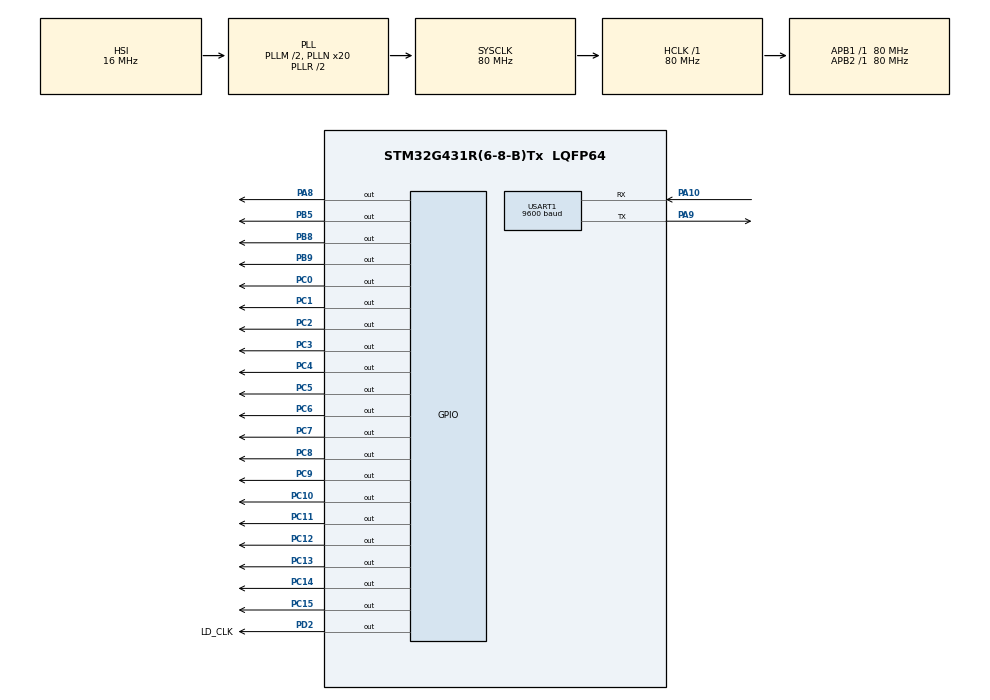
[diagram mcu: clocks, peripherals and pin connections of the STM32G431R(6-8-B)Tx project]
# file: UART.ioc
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Dma.Request0=USART1_RX
Dma.Request1=USART1_TX
Dma.USART1_RX.0.Direction=DMA_PERIPH_TO_MEMORY
Dma.USART1_RX.0.EventEnable=DISABLE
Dma.USART1_RX.0.Instance=DMA1_Channel1
Dma.USART1_RX.0.MemDataAlignment=DMA_MDATAALIGN_BYTE
Dma.USART1_RX.0.MemInc=DMA_MINC_ENABLE
Dma.USART1_RX.0.Mode=DMA_NORMAL
Dma.USART1_RX.0.PeriphDataAlignment=DMA_PDATAALIGN_BYTE
Dma.USART1_RX.0.PeriphInc=DMA_PINC_DISABLE
Dma.USART1_RX.0.Polarity=HAL_DMAMUX_REQ_GEN_RISING
Dma.USART1_RX.0.Priority=DMA_PRIORITY_LOW
Dma.USART1_RX.0.RequestNumber=1
Dma.USART1_RX.0.SignalID=NONE
Dma.USART1_RX.0.SyncEnable=DISABLE
Dma.USART1_RX.0.SyncPolarity=HAL_DMAMUX_SYNC_NO_EVENT
Dma.USART1_RX.0.SyncRequestNumber=1
Dma.USART1_RX.0.SyncSignalID=NONE
Dma.USART1_TX.1.Direction=DMA_MEMORY_TO_PERIPH
Dma.USART1_TX.1.EventEnable=DISABLE
Dma.USART1_TX.1.Instance=DMA1_Channel2
Dma.USART1_TX.1.MemDataAlignment=DMA_MDATAALIGN_BYTE
Dma.USART1_TX.1.MemInc=DMA_MINC_ENABLE
Dma.USART1_TX.1.Mode=DMA_NORMAL
Dma.USART1_TX.1.PeriphDataAlignment=DMA_PDATAALIGN_BYTE
Dma.USART1_TX.1.PeriphInc=DMA_PINC_DISABLE
Dma.USART1_TX.1.Polarity=HAL_DMAMUX_REQ_GEN_RISING
Dma.USART1_TX.1.Priority=DMA_PRIORITY_LOW
Dma.USART1_TX.1.RequestNumber=1
Dma.USART1_TX.1.SignalID=NONE
Dma.USART1_TX.1.SyncEnable=DISABLE
Dma.USART1_TX.1.SyncPolarity=HAL_DMAMUX_SYNC_NO_EVENT
Dma.USART1_TX.1.SyncRequestNumber=1
Dma.USART1_TX.1.SyncSignalID=NONE
Mcu.Family=STM32G4
Mcu.Name=STM32G431R(6-8-B)Tx
Mcu.Package=LQFP64
NVIC.DMA1_Channel1_IRQn=true\:0\:0\:false\:false\:true\:false\:true
NVIC.DMA1_Channel2_IRQn=true\:0\:0\:false\:false\:true\:false\:true
NVIC.PriorityGroup=NVIC_PRIORITYGROUP_4
NVIC.USART1_IRQn=true\:0\:0\:false\:false\:true\:true\:true
PA10.Mode=Asynchronous
PA10.Signal=USART1_RX
PA8.Signal=GPIO_Output
PA9.Mode=Asynchronous
PA9.Signal=USART1_TX
PB5.Signal=GPIO_Output
PB8-BOOT0.Signal=GPIO_Output
PB9.Signal=GPIO_Output
PC0.Signal=GPIO_Output
PC1.Signal=GPIO_Output
PC10.Signal=GPIO_Output
PC11.Signal=GPIO_Output
PC12.Signal=GPIO_Output
PC13.Signal=GPIO_Output
PC14-OSC32_IN.Signal=GPIO_Output
PC15-OSC32_OUT.Signal=GPIO_Output
PC2.Signal=GPIO_Output
PC3.Signal=GPIO_Output
PC4.Signal=GPIO_Output
PC5.Signal=GPIO_Output
PC6.Signal=GPIO_Output
PC7.Signal=GPIO_Output
PC8.Signal=GPIO_Output
PC9.Signal=GPIO_Output
PD2.GPIO_Label=LD_CLK
PD2.Signal=GPIO_Output
PF0-OSC_IN.Mode=HSE-External-Oscillator
PF0-OSC_IN.Signal=RCC_OSC_IN
PF1-OSC_OUT.Mode=HSE-External-Oscillator
PF1-OSC_OUT.Signal=RCC_OSC_OUT
ProjectManager.HeapSize=0x200
ProjectManager.StackSize=0x400
ProjectManager.TargetToolchain=MDK-ARM V5.27
RCC.ADC12Freq_Value=80000000
RCC.AHBFreq_Value=80000000
RCC.APB1Freq_Value=80000000
RCC.APB1TimFreq_Value=80000000
RCC.APB2Freq_Value=80000000
RCC.APB2TimFreq_Value=80000000
RCC.CortexFreq_Value=80000000
RCC.EXTERNAL_CLOCK_VALUE=12288000
RCC.HCLKFreq_Value=80000000
RCC.HSE_VALUE=24000000
RCC.HSI48_VALUE=48000000
RCC.HSI_VALUE=16000000
RCC.LSE_VALUE=32768
RCC.PLLM=RCC_PLLM_DIV2
RCC.PLLN=20
RCC.SYSCLKFreq_VALUE=80000000
RCC.SYSCLKSource=RCC_SYSCLKSOURCE_PLLCLK
RCC.USBFreq_Value=80000000
RCC.VCOOutputFreq_Value=160000000
USART1.BaudRate=9600
USART1.FIFOMode=FIFOMODE_ENABLE
USART1.VirtualMode-Asynchronous=VM_ASYNC
VP_SYS_VS_DBSignals.Mode=DisableDeadBatterySignals
board=custom

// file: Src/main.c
/* USER CODE BEGIN Header */
/**
  ******************************************************************************
  * @file           : main.c
  * @brief          : Main program body
  ******************************************************************************
  * @attention
  *
  * <h2><center>&copy; Copyright (c) 2021 STMicroelectronics.
  * All rights reserved.</center></h2>
  *
  * This software component is licensed by ST under BSD 3-Clause license,
  * the "License"; You may not use this file except in compliance with the
  * License. You may obtain a copy of the License at:
  *                        opensource.org/licenses/BSD-3-Clause
  *
  ******************************************************************************
  */
/* USER CODE END Header */
#include "main.h"

/* USER CODE BEGIN Includes */
#include <string.h>
#include <stdio.h>
#include "lcd.h"
/* USER CODE END Includes */

/* USER CODE BEGIN PD */
#define BUFFER_SIZE 100
/* USER CODE END PD */

UART_HandleTypeDef huart1;
DMA_HandleTypeDef hdma_usart1_rx;
DMA_HandleTypeDef hdma_usart1_tx;

/* USER CODE BEGIN PV */

uint8_t rx_buffer[100] = {0};//串口接收缓冲区
uint8_t rx_flag = 0;
uint16_t rx_len = 0;
uint8_t rx_done;
char str[10]={0};
struct typdef{
	char *ch;
	char c1, c2, c3, c4;
	int x;
	char c5;
	int y;
}rx_data;
/* USER CODE END PV */

void SystemClock_Config(void);
static void MX_GPIO_Init(void);
static void MX_DMA_Init(void);
static void MX_USART1_UART_Init(void);

/* USER CODE BEGIN 0 */
int fputc(int ch, FILE *f)
{
	HAL_UART_Transmit(&huart1, (uint8_t *)&ch, 1, HAL_MAX_DELAY);
	return ch;
}
/* USER CODE END 0 */

int main(void)
{

  /* MCU Configuration--------------------------------------------------------*/

  /* Reset of all peripherals, Initializes the Flash interface and the Systick. */
  HAL_Init();

  /* Configure the system clock */
  SystemClock_Config();

  /* Initialize all configured peripherals */
  MX_GPIO_Init();
  MX_DMA_Init();
  MX_USART1_UART_Init();
  /* USER CODE BEGIN 2 */
	/*开启串口空闲中断*/
	__HAL_UART_ENABLE_IT(&huart1, UART_IT_IDLE);/*启动串口DMA接收*/
	HAL_UART_Receive_DMA(&huart1,rx_buffer,BUFFER_SIZE);

  /* USER CODE END 2 */

  /* Infinite loop */
  while (1)
  {

    /* USER CODE BEGIN 3 */

		sscanf("SET:1:2", "%[A-Z]", str);
	printf("%s\r\n", str);
		if(rx_flag ==1)
		{
//			char *ptr, c = '.';

//			ptr = strchr((char*)rx_buffer, c);
//			printf("%d", ptr-(char*)rx_buffer+1);
			if(rx_len > 0)
			{

//				if(rx_data.c1 == 'S')
//				{
//					rx_done = 1;
//				}
			}
//			printf("%c\r\n", rx_data.c1);
//			printf("%c\r\n", rx_data.c2);
//			printf("%c\r\n", rx_data.c3);
//			printf("%c\r\n", rx_data.c4);
//			printf("%d\r\n", rx_data.x);
//			printf("%c\r\n", rx_data.c5);
//			printf("%d\r\n", rx_data.y);
			//HAL_UART_Transmit_DMA(&huart1,rx_buffer,rx_len);
			rx_len=0;
			rx_flag=0;
			HAL_UART_Receive_DMA(&huart1,rx_buffer,BUFFER_SIZE);
		}
  }
  /* USER CODE END 3 */
}

void SystemClock_Config(void)
{
  RCC_OscInitTypeDef RCC_OscInitStruct = {0};
  RCC_ClkInitTypeDef RCC_ClkInitStruct = {0};
  RCC_PeriphCLKInitTypeDef PeriphClkInit = {0};

  /** Configure the main internal regulator output voltage
  */
  HAL_PWREx_ControlVoltageScaling(PWR_REGULATOR_VOLTAGE_SCALE1);
  /** Initializes the RCC Oscillators according to the specified parameters
  * in the RCC_OscInitTypeDef structure.
  */
  RCC_OscInitStruct.OscillatorType = RCC_OSCILLATORTYPE_HSI;
  RCC_OscInitStruct.HSIState = RCC_HSI_ON;
  RCC_OscInitStruct.HSICalibrationValue = RCC_HSICALIBRATION_DEFAULT;
  RCC_OscInitStruct.PLL.PLLState = RCC_PLL_ON;
  RCC_OscInitStruct.PLL.PLLSource = RCC_PLLSOURCE_HSI;
  RCC_OscInitStruct.PLL.PLLM = RCC_PLLM_DIV2;
  RCC_OscInitStruct.PLL.PLLN = 20;
  RCC_OscInitStruct.PLL.PLLP = RCC_PLLP_DIV2;
  RCC_OscInitStruct.PLL.PLLQ = RCC_PLLQ_DIV2;
  RCC_OscInitStruct.PLL.PLLR = RCC_PLLR_DIV2;
  if (HAL_RCC_OscConfig(&RCC_OscInitStruct) != HAL_OK)
  {
    Error_Handler();
  }
  /** Initializes the CPU, AHB and APB buses clocks
  */
  RCC_ClkInitStruct.ClockType = RCC_CLOCKTYPE_HCLK|RCC_CLOCKTYPE_SYSCLK
                              |RCC_CLOCKTYPE_PCLK1|RCC_CLOCKTYPE_PCLK2;
  RCC_ClkInitStruct.SYSCLKSource = RCC_SYSCLKSOURCE_PLLCLK;
  RCC_ClkInitStruct.AHBCLKDivider = RCC_SYSCLK_DIV1;
  RCC_ClkInitStruct.APB1CLKDivider = RCC_HCLK_DIV1;
  RCC_ClkInitStruct.APB2CLKDivider = RCC_HCLK_DIV1;

  if (HAL_RCC_ClockConfig(&RCC_ClkInitStruct, FLASH_LATENCY_2) != HAL_OK)
  {
    Error_Handler();
  }
  /** Initializes the peripherals clocks
  */
  PeriphClkInit.PeriphClockSelection = RCC_PERIPHCLK_USART1;
  PeriphClkInit.Usart1ClockSelection = RCC_USART1CLKSOURCE_PCLK2;
  if (HAL_RCCEx_PeriphCLKConfig(&PeriphClkInit) != HAL_OK)
  {
    Error_Handler();
  }
}

static void MX_USART1_UART_Init(void)
{

  huart1.Instance = USART1;
  huart1.Init.BaudRate = 9600;
  huart1.Init.WordLength = UART_WORDLENGTH_8B;
  huart1.Init.StopBits = UART_STOPBITS_1;
  huart1.Init.Parity = UART_PARITY_NONE;
  huart1.Init.Mode = UART_MODE_TX_RX;
  huart1.Init.HwFlowCtl = UART_HWCONTROL_NONE;
  huart1.Init.OverSampling = UART_OVERSAMPLING_16;
  huart1.Init.OneBitSampling = UART_ONE_BIT_SAMPLE_DISABLE;
  huart1.Init.ClockPrescaler = UART_PRESCALER_DIV1;
  huart1.AdvancedInit.AdvFeatureInit = UART_ADVFEATURE_NO_INIT;
  if (HAL_UART_Init(&huart1) != HAL_OK)
  {
    Error_Handler();
  }
  if (HAL_UARTEx_SetTxFifoThreshold(&huart1, UART_TXFIFO_THRESHOLD_1_8) != HAL_OK)
  {
    Error_Handler();
  }
  if (HAL_UARTEx_SetRxFifoThreshold(&huart1, UART_RXFIFO_THRESHOLD_1_8) != HAL_OK)
  {
    Error_Handler();
  }
  if (HAL_UARTEx_EnableFifoMode(&huart1) != HAL_OK)
  {
    Error_Handler();
  }

}

static void MX_DMA_Init(void)
{

  /* DMA controller clock enable */
  __HAL_RCC_DMAMUX1_CLK_ENABLE();
  __HAL_RCC_DMA1_CLK_ENABLE();

  /* DMA interrupt init */
  /* DMA1_Channel1_IRQn interrupt configuration */
  HAL_NVIC_SetPriority(DMA1_Channel1_IRQn, 0, 0);
  HAL_NVIC_EnableIRQ(DMA1_Channel1_IRQn);
  /* DMA1_Channel2_IRQn interrupt configuration */
  HAL_NVIC_SetPriority(DMA1_Channel2_IRQn, 0, 0);
  HAL_NVIC_EnableIRQ(DMA1_Channel2_IRQn);

}

static void MX_GPIO_Init(void)
{
  GPIO_InitTypeDef GPIO_InitStruct = {0};

  /* GPIO Ports Clock Enable */
  __HAL_RCC_GPIOC_CLK_ENABLE();
  __HAL_RCC_GPIOF_CLK_ENABLE();
  __HAL_RCC_GPIOA_CLK_ENABLE();
  __HAL_RCC_GPIOD_CLK_ENABLE();
  __HAL_RCC_GPIOB_CLK_ENABLE();

  /*Configure GPIO pin Output Level */
  HAL_GPIO_WritePin(GPIOC, GPIO_PIN_13|GPIO_PIN_14|GPIO_PIN_15|GPIO_PIN_0
                          |GPIO_PIN_1|GPIO_PIN_2|GPIO_PIN_3|GPIO_PIN_4
                          |GPIO_PIN_5|GPIO_PIN_6|GPIO_PIN_7|GPIO_PIN_8
                          |GPIO_PIN_9|GPIO_PIN_10|GPIO_PIN_11|GPIO_PIN_12, GPIO_PIN_RESET);

  /*Configure GPIO pin Output Level */
  HAL_GPIO_WritePin(GPIOA, GPIO_PIN_8, GPIO_PIN_RESET);

  /*Configure GPIO pin Output Level */
  HAL_GPIO_WritePin(LD_CLK_GPIO_Port, LD_CLK_Pin, GPIO_PIN_RESET);

  /*Configure GPIO pin Output Level */
  HAL_GPIO_WritePin(GPIOB, GPIO_PIN_5|GPIO_PIN_8|GPIO_PIN_9, GPIO_PIN_RESET);

  /*Configure GPIO pins : PC13 PC14 PC15 PC0
                           PC1 PC2 PC3 PC4
                           PC5 PC6 PC7 PC8
                           PC9 PC10 PC11 PC12 */
  GPIO_InitStruct.Pin = GPIO_PIN_13|GPIO_PIN_14|GPIO_PIN_15|GPIO_PIN_0
                          |GPIO_PIN_1|GPIO_PIN_2|GPIO_PIN_3|GPIO_PIN_4
                          |GPIO_PIN_5|GPIO_PIN_6|GPIO_PIN_7|GPIO_PIN_8
                          |GPIO_PIN_9|GPIO_PIN_10|GPIO_PIN_11|GPIO_PIN_12;
  GPIO_InitStruct.Mode = GPIO_MODE_OUTPUT_PP;
  GPIO_InitStruct.Pull = GPIO_NOPULL;
  GPIO_InitStruct.Speed = GPIO_SPEED_FREQ_LOW;
  HAL_GPIO_Init(GPIOC, &GPIO_InitStruct);

  /*Configure GPIO pin : PA8 */
  GPIO_InitStruct.Pin = GPIO_PIN_8;
  GPIO_InitStruct.Mode = GPIO_MODE_OUTPUT_PP;
  GPIO_InitStruct.Pull = GPIO_NOPULL;
  GPIO_InitStruct.Speed = GPIO_SPEED_FREQ_LOW;
  HAL_GPIO_Init(GPIOA, &GPIO_InitStruct);

  /*Configure GPIO pin : LD_CLK_Pin */
  GPIO_InitStruct.Pin = LD_CLK_Pin;
  GPIO_InitStruct.Mode = GPIO_MODE_OUTPUT_PP;
  GPIO_InitStruct.Pull = GPIO_NOPULL;
  GPIO_InitStruct.Speed = GPIO_SPEED_FREQ_LOW;
  HAL_GPIO_Init(LD_CLK_GPIO_Port, &GPIO_InitStruct);

  /*Configure GPIO pins : PB5 PB8 PB9 */
  GPIO_InitStruct.Pin = GPIO_PIN_5|GPIO_PIN_8|GPIO_PIN_9;
  GPIO_InitStruct.Mode = GPIO_MODE_OUTPUT_PP;
  GPIO_InitStruct.Pull = GPIO_NOPULL;
  GPIO_InitStruct.Speed = GPIO_SPEED_FREQ_LOW;
  HAL_GPIO_Init(GPIOB, &GPIO_InitStruct);

}

void Error_Handler(void)
{
  __disable_irq();
  while (1)
  {
  }
}

/************************ (C) COPYRIGHT STMicroelectronics *****END OF FILE****/
